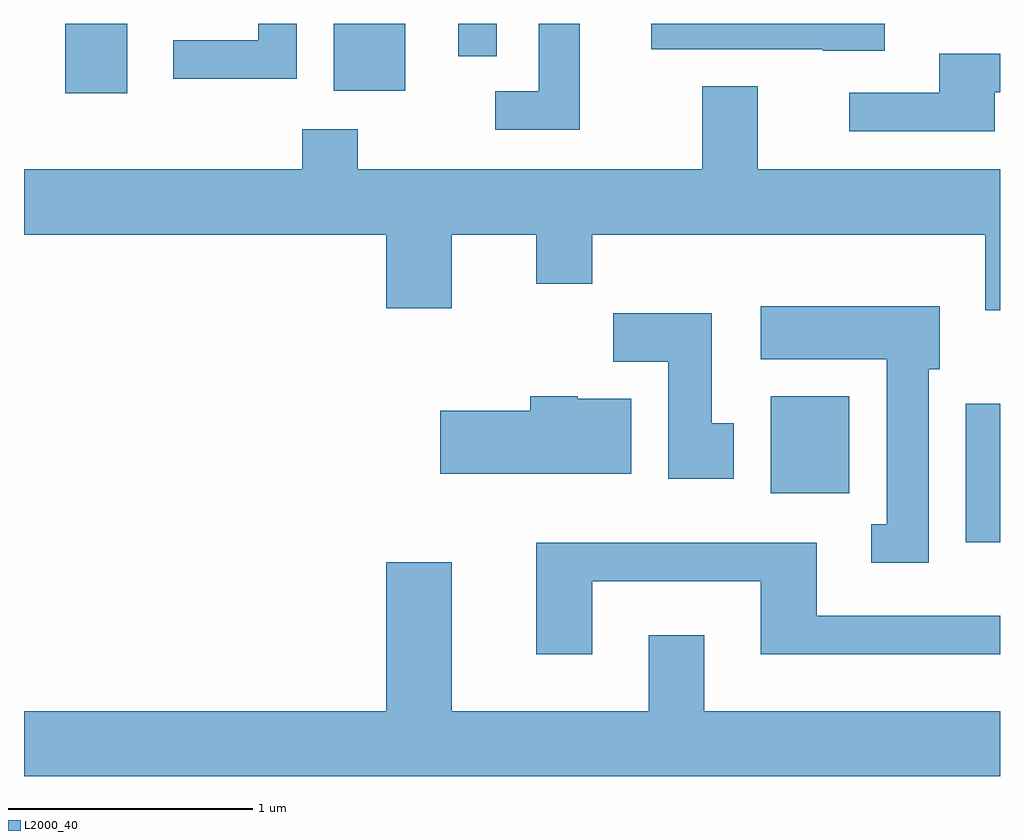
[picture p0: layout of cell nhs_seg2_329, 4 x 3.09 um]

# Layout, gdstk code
import gdstk
lib = gdstk.Library(unit=1e-6, precision=1e-09)
def R(c, l, rs):  # rectangles x0, y0, x1, y1
    for r in rs: c.add(gdstk.rectangle(r[:2], r[2:], *l))
def P(c, l, *ps):  # polygons
    for p in ps: c.add(gdstk.Polygon(p, *l))
L2000_40 = (2000, 40)

nhs_seg2_329 = lib.new_cell('nhs_seg2_329')
R(nhs_seg2_329, L2000_40, [(197.471,1093.676,197.611,1094.244), (196.671,1093.876,196.994,1094.274), (193.781,1095.516,194.034,1095.802), (194.881,1095.526,195.174,1095.802), (195.391,1095.668,195.549,1095.802)])
P(nhs_seg2_329, L2000_40, [(197.139,1095.802),(196.181,1095.802),(196.181,1095.696),(196.885,1095.696),(196.885,1095.691),(197.139,1095.691)],
  [(194.729,1095.802),(194.571,1095.802),(194.571,1095.734),(194.223,1095.734),(194.223,1095.576),(194.729,1095.576)],
  [(195.889,1095.802),(195.721,1095.802),(195.721,1095.524),(195.543,1095.524),(195.543,1095.366),(195.889,1095.366)],
  [(197.589,1095.521),(197.611,1095.521),(197.611,1095.679),(197.361,1095.679),(197.361,1095.519),(196.993,1095.519),(196.993,1095.361),(197.589,1095.361)],
  [(197.611,1095.204),(196.619,1095.204),(196.619,1095.544),(196.391,1095.544),(196.391,1095.204),(194.979,1095.204),(194.979,1095.369),(194.751,1095.369),(194.751,1095.204),(193.611,1095.204),(193.611,1094.936),(195.096,1094.936),(195.096,1094.636),(195.364,1094.636),(195.364,1094.936),(195.711,1094.936),(195.711,1094.736),(195.939,1094.736),(195.939,1094.936),(197.551,1094.936),(197.551,1094.626),(197.611,1094.626)],
  [(197.319,1094.386),(197.364,1094.386),(197.364,1094.644),(196.631,1094.644),(196.631,1094.426),(197.146,1094.426),(197.146,1093.749),(197.083,1093.749),(197.083,1093.591),(197.319,1093.591)],
  [(196.519,1094.164),(196.429,1094.164),(196.429,1094.614),(196.026,1094.614),(196.026,1094.416),(196.251,1094.416),(196.251,1093.936),(196.519,1093.936)],
  [(196.099,1094.264),(195.88,1094.264),(195.88,1094.274),(195.686,1094.274),(195.686,1094.214),(195.316,1094.214),(195.316,1093.956),(196.099,1093.956)],
  [(195.939,1093.516),(196.631,1093.516),(196.631,1093.216),(197.611,1093.216),(197.611,1093.374),(196.859,1093.374),(196.859,1093.674),(195.711,1093.674),(195.711,1093.216),(195.939,1093.216)],
  [(197.611,1092.984),(196.399,1092.984),(196.399,1093.294),(196.171,1093.294),(196.171,1092.984),(195.364,1092.984),(195.364,1093.594),(195.096,1093.594),(195.096,1092.984),(193.611,1092.984),(193.611,1092.716),(197.611,1092.716)])

lib.write_gds('nhs_seg2_329.gds')
